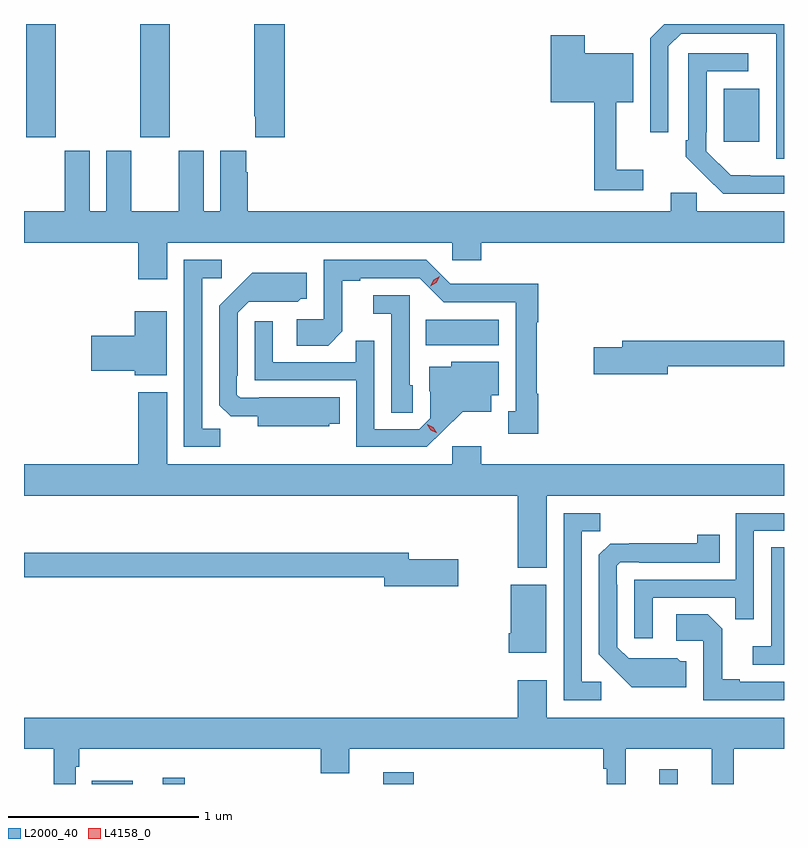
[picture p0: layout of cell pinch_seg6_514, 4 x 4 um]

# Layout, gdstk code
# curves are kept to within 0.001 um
import gdstk
lib = gdstk.Library(unit=1e-6, precision=1e-09)
def R(c, l, rs):  # rectangles x0, y0, x1, y1
    for r in rs: c.add(gdstk.rectangle(r[:2], r[2:], *l))
def P(c, l, *ps):  # polygons
    for p in ps: c.add(gdstk.Polygon(p, *l))
L2000_40 = (2000, 40)
L4158_0 = (4158, 0)

pinch_seg6_514 = lib.new_cell('pinch_seg6_514')
R(pinch_seg6_514, L2000_40, [(771.418,947.15,771.634,947.167), (771.792,947.15,771.908,947.182), (772.952,947.15,773.111,947.212), (774.405,947.15,774.502,947.227), (773.176,949.46,773.56,949.594), (774.743,950.529,774.931,950.809), (771.073,950.553,771.228,951.15), (771.673,950.553,771.828,951.15)])
P(pinch_seg6_514, L2000_40, [(775.061,951.15),(774.432,951.15),(774.357,951.075),(774.357,950.58),(774.453,950.58),(774.453,951.033),(774.519,951.099),(775.02,951.099),(775.02,950.442),(775.061,950.442)],
  [(772.433,951.15),(772.273,951.15),(772.273,950.665),(772.277,950.665),(772.277,950.553),(772.433,950.553)],
  [(774.319,950.383),(774.179,950.383),(774.179,950.738),(774.268,950.738),(774.268,950.995),(774.012,950.995),(774.012,951.091),(773.834,951.091),(773.834,950.738),(774.061,950.738),(774.061,950.274),(774.319,950.274)],
  [(775.061,950.352),(774.78,950.353),(774.651,950.481),(774.651,950.581),(774.654,950.581),(774.654,950.901),(774.874,950.901),(774.874,950.997),(774.558,950.997),(774.558,950.539),(774.543,950.539),(774.543,950.451),(774.74,950.256),(775.061,950.256)],
  [(771.814,950),(773.316,950),(773.316,949.907),(773.468,949.907),(773.468,950),(775.061,950),(775.061,950.164),(774.603,950.164),(774.603,950.262),(774.464,950.262),(774.464,950.164),(772.238,950.164),(772.238,950.369),(772.231,950.369),(772.231,950.482),(772.094,950.482),(772.094,950.164),(772.006,950.164),(772.006,950.482),(771.875,950.482),(771.875,950.164),(771.625,950.164),(771.625,950.482),(771.494,950.482),(771.494,950.164),(771.406,950.164),(771.406,950.482),(771.275,950.482),(771.275,950.164),(771.061,950.164),(771.061,950),(771.662,950),(771.662,949.806),(771.814,949.806)],
  [(773.767,949.205),(773.759,949.205),(773.759,949.579),(773.767,949.579),(773.767,949.784),(773.526,949.784),(773.526,949.782),(773.304,949.782),(773.178,949.908),(772.638,949.908),(772.638,949.596),(772.497,949.596),(772.497,949.456),(772.661,949.456),(772.737,949.532),(772.737,949.8),(772.831,949.8),(772.831,949.812),(773.145,949.812),(773.271,949.686),(773.648,949.686),(773.648,949.113),(773.609,949.113),(773.609,948.993),(773.767,948.993)],
  [(772.095,949.019),(771.999,949.019),(771.999,949.812),(772.102,949.812),(772.102,949.908),(771.903,949.908),(771.903,948.924),(772.095,948.924)],
  [(772.668,949.046),(772.724,949.046),(772.724,949.186),(772.3,949.186),(772.3,949.182),(772.2,949.182),(772.182,949.2),(772.182,949.3),(772.185,949.3),(772.185,949.629),(772.245,949.689),(772.502,949.688),(772.518,949.704),(772.549,949.704),(772.549,949.84),(772.261,949.84),(772.089,949.666),(772.089,949.144),(772.148,949.085),(772.292,949.085),(772.292,949.034),(772.668,949.034)],
  [(773.106,949.248),(773.091,949.248),(773.091,949.722),(772.899,949.722),(772.899,949.625),(772.995,949.625),(772.995,949.105),(773.106,949.105)],
  [(771.811,949.639),(771.644,949.639),(771.644,949.508),(771.414,949.508),(771.414,949.325),(771.644,949.325),(771.644,949.301),(771.811,949.301)],
  [(773.266,949.007),(773.369,949.109),(773.521,949.109),(773.521,949.196),(773.56,949.196),(773.56,949.372),(773.31,949.372),(773.31,949.345),(773.195,949.345),(773.195,949.216),(773.199,949.216),(773.199,949.074),(773.142,949.017),(772.905,949.017),(772.905,949.484),(772.807,949.484),(772.807,949.371),(772.371,949.371),(772.371,949.585),(772.275,949.585),(772.275,949.275),(772.809,949.275),(772.809,948.924),(773.182,948.924)],
  [(774.448,949.348),(775.061,949.348),(775.061,949.484),(774.209,949.484),(774.209,949.448),(774.06,949.448),(774.06,949.306),(774.448,949.306)],
  [(773.812,948.668),(775.061,948.668),(775.061,948.832),(773.468,948.832),(773.468,948.928),(773.316,948.928),(773.316,948.832),(771.814,948.832),(771.814,949.213),(771.662,949.213),(771.662,948.832),(771.061,948.832),(771.061,948.668),(773.66,948.668),(773.66,948.288),(773.812,948.288)],
  [(774.1,947.688),(773.997,947.688),(773.997,948.481),(774.093,948.481),(774.093,948.576),(773.901,948.576),(773.901,947.592),(774.1,947.592)],
  [(774.369,948.129),(774.805,948.129),(774.805,948.016),(774.903,948.016),(774.903,948.483),(775.061,948.483),(775.061,948.576),(774.807,948.576),(774.807,948.225),(774.273,948.225),(774.273,947.916),(774.369,947.916)],
  [(774.547,947.796),(774.516,947.796),(774.5,947.812),(774.243,947.811),(774.183,947.871),(774.183,948.2),(774.18,948.2),(774.18,948.3),(774.198,948.318),(774.298,948.318),(774.298,948.315),(774.722,948.315),(774.722,948.463),(774.604,948.463),(774.604,948.416),(774.146,948.415),(774.087,948.356),(774.087,947.834),(774.259,947.66),(774.547,947.66)],
  [(775.061,948.395),(774.993,948.395),(774.993,947.875),(774.897,947.875),(774.897,947.778),(775.061,947.778)],
  [(773.347,948.333),(773.086,948.333),(773.086,948.367),(771.061,948.367),(771.061,948.238),(772.958,948.238),(772.958,948.191),(773.347,948.191)],
  [(773.809,948.199),(773.624,948.199),(773.624,947.944),(773.612,947.944),(773.612,947.84),(773.809,947.84)],
  [(775.061,947.688),(774.829,947.688),(774.829,947.701),(774.735,947.701),(774.735,947.968),(774.659,948.044),(774.495,948.044),(774.495,947.904),(774.636,947.904),(774.636,947.592),(775.061,947.592)],
  [(771.333,947.24),(771.353,947.24),(771.353,947.336),(772.622,947.336),(772.622,947.206),(772.774,947.206),(772.774,947.336),(774.109,947.336),(774.109,947.229),(774.129,947.229),(774.129,947.15),(774.227,947.15),(774.227,947.336),(774.68,947.336),(774.68,947.15),(774.797,947.15),(774.797,947.336),(775.061,947.336),(775.061,947.5),(773.812,947.5),(773.812,947.695),(773.66,947.695),(773.66,947.5),(771.061,947.5),(771.061,947.336),(771.217,947.336),(771.217,947.15),(771.333,947.15)])
P(pinch_seg6_514, L4158_0, [(773.2,949.771),(773.2,949.771),(773.217,949.803),(773.249,949.822),(773.249,949.822),(773.249,949.822),(773.232,949.789),(773.2,949.771)],
  [(773.232,948.998),(773.201,949.013),(773.184,949.042),(773.184,949.043),(773.184,949.043),(773.215,949.028),(773.233,948.998),(773.233,948.998)])

lib.write_gds('pinch_seg6_514.gds')
